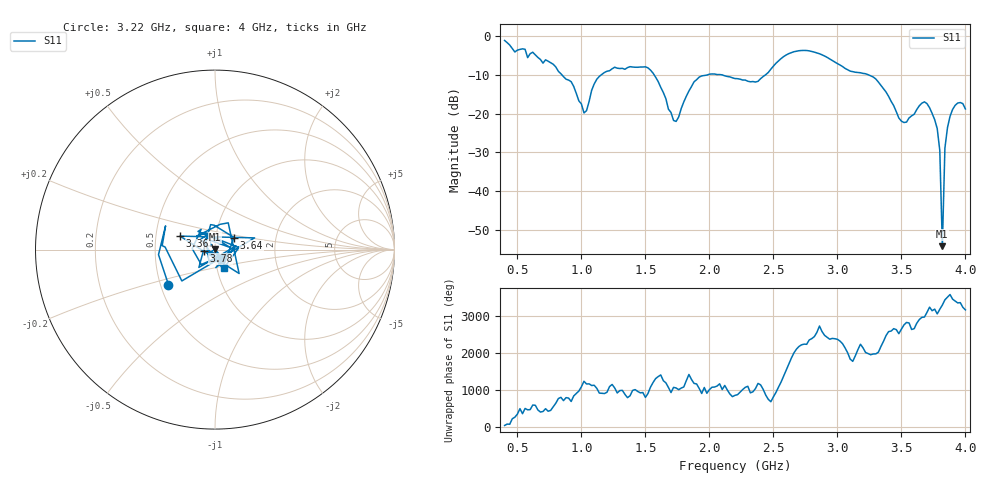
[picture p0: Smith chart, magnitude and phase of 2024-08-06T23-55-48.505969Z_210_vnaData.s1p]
!Created with skrf (http://scikit-rf.org).
# Hz S RI R 50.0
!freq ReS11 ImS11
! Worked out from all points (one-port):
!   181 points, 400 MHz to 4 GHz, reference 50 ohm
!   lowest |S11| = -54.1 dB at 3.82 GHz (marker M1), VSWR 1.00, Z = 50.1 + j0.18 ohm
!   |S11| at or under -10 dB: 1.567 GHz to 1.989 GHz (422.1 MHz wide, 23.7 % of centre); 2.088 GHz to 2.44 GHz (352.6 MHz wide, 15.6 % of centre); 3.24 GHz to end of sweep (the widest 3 of 4)
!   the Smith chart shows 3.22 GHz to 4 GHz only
!   S11 on the Smith chart (normalised r, x): 3.22 GHz: 0.55, -0.24; 3.36 GHz: 0.67, +0.10; 3.64 GHz: 1.23, +0.17; 3.78 GHz: 0.88, -0.01; 4 GHz: 1.08, -0.23
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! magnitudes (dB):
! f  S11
! 400 MHz  -1.2
! 860 MHz  -10.5
! 920 MHz  -11.8
! 1.02 GHz  -19.9
! 1.12 GHz  -11.2
! 1.3 GHz  -8.4
! 1.52 GHz  -8.3
! 1.6 GHz  -11.8
! 1.72 GHz  -21.8
! 1.76 GHz  -20.9
! 1.92 GHz  -10.6
! 2.2 GHz  -11.0
! 2.38 GHz  -11.7
! 2.66 GHz  -4.1
! 3.1 GHz  -9.1
! 3.22 GHz  -9.8
! 3.36 GHz  -13.6
! 3.5 GHz  -22.0
! 3.56 GHz  -21.1
! 3.64 GHz  -18.0
! 3.7 GHz  -17.5
! 3.78 GHz  -23.9
! 3.8 GHz  -29.5
! 3.82 GHz  -54.1
! 3.84 GHz  -28.9
! 3.86 GHz  -23.6
! 3.92 GHz  -17.9
! 4 GHz  -18.8
